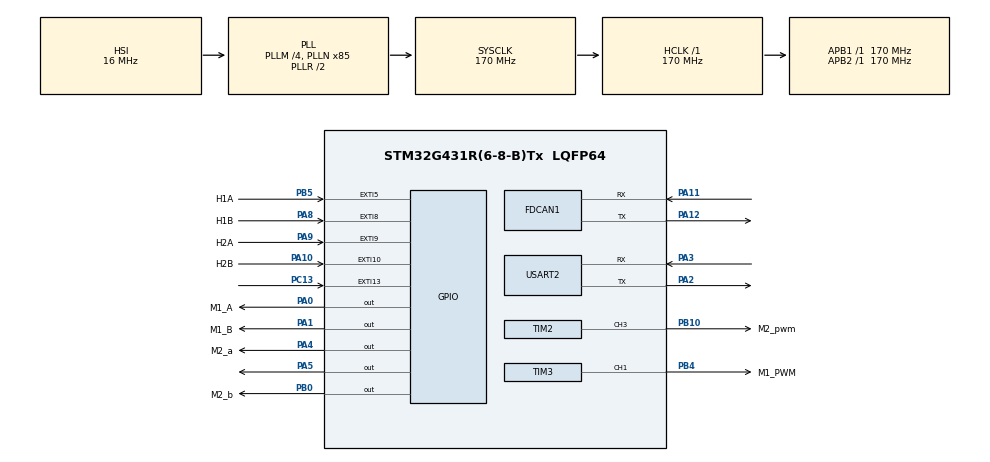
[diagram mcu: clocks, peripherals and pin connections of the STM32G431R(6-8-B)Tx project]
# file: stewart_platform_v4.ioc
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Dma.Request0=USART2_TX
Dma.USART2_TX.0.Direction=DMA_MEMORY_TO_PERIPH
Dma.USART2_TX.0.EventEnable=DISABLE
Dma.USART2_TX.0.Instance=DMA1_Channel1
Dma.USART2_TX.0.MemDataAlignment=DMA_MDATAALIGN_BYTE
Dma.USART2_TX.0.MemInc=DMA_MINC_ENABLE
Dma.USART2_TX.0.Mode=DMA_NORMAL
Dma.USART2_TX.0.PeriphDataAlignment=DMA_PDATAALIGN_BYTE
Dma.USART2_TX.0.PeriphInc=DMA_PINC_DISABLE
Dma.USART2_TX.0.Polarity=HAL_DMAMUX_REQ_GEN_RISING
Dma.USART2_TX.0.Priority=DMA_PRIORITY_LOW
Dma.USART2_TX.0.RequestNumber=1
Dma.USART2_TX.0.SignalID=NONE
Dma.USART2_TX.0.SyncEnable=DISABLE
Dma.USART2_TX.0.SyncPolarity=HAL_DMAMUX_SYNC_NO_EVENT
Dma.USART2_TX.0.SyncRequestNumber=1
Dma.USART2_TX.0.SyncSignalID=NONE
FDCAN1.CalculateBaudRateNominal=3541666
FDCAN1.CalculateTimeBitNominal=282
FDCAN1.CalculateTimeQuantumNominal=94.11764705882354
Mcu.Family=STM32G4
Mcu.Name=STM32G431R(6-8-B)Tx
Mcu.Package=LQFP64
NUCLEO-G431RB.BUTTON=1
NUCLEO-G431RB.LD1=true
NVIC.DMA1_Channel1_IRQn=true\:0\:0\:false\:false\:true\:false\:true\:true
NVIC.EXTI15_10_IRQn=true\:0\:0\:false\:false\:true\:false\:true\:true
NVIC.EXTI9_5_IRQn=true\:0\:0\:false\:false\:true\:true\:true\:true
NVIC.PriorityGroup=NVIC_PRIORITYGROUP_4
NVIC.USART2_IRQn=true\:0\:0\:false\:false\:true\:true\:true\:true
PA0.GPIO_Label=M1_A
PA0.Signal=GPIO_Output
PA1.GPIO_Label=M1_B
PA1.Signal=GPIO_Output
PA10.GPIO_Label=H2B
PA10.GPIO_ModeDefaultEXTI=GPIO_MODE_IT_FALLING
PA10.Signal=GPXTI10
PA11.Mode=FDCAN_Activate
PA11.Signal=FDCAN1_RX
PA12.Mode=FDCAN_Activate
PA12.Signal=FDCAN1_TX
PA13.GPIO_Label=T_SWDIO
PA13.Mode=Trace_Asynchronous_SW
PA13.Signal=SYS_JTMS-SWDIO
PA14.GPIO_Label=T_SWCLK
PA14.Mode=Trace_Asynchronous_SW
PA14.Signal=SYS_JTCK-SWCLK
PA2.Mode=Asynchronous
PA2.Signal=USART2_TX
PA3.Mode=Asynchronous
PA3.Signal=USART2_RX
PA4.GPIO_Label=M2_a
PA4.Signal=GPIO_Output
PA5.Signal=GPIO_Output
PA8.GPIO_Label=H1B
PA8.GPIO_ModeDefaultEXTI=GPIO_MODE_IT_FALLING
PA8.Signal=GPXTI8
PA9.GPIO_Label=H2A
PA9.GPIO_ModeDefaultEXTI=GPIO_MODE_IT_FALLING
PA9.Signal=GPXTI9
PB0.GPIO_Label=M2_b
PB0.Signal=GPIO_Output
PB10.GPIO_Label=M2_pwm
PB10.Signal=S_TIM2_CH3
PB3.GPIO_Label=T_SWO
PB3.Mode=Trace_Asynchronous_SW
PB3.Signal=SYS_JTDO-SWO
PB4.GPIO_Label=M1_PWM
PB4.Signal=S_TIM3_CH1
PB5.GPIO_Label=H1A
PB5.GPIO_ModeDefaultEXTI=GPIO_MODE_IT_FALLING
PB5.Signal=GPXTI5
PC13.Signal=GPXTI13
PC14-OSC32_IN.GPIO_Label=RCC_OSC32_OUT
PC14-OSC32_IN.Signal=RCC_OSC32_IN
PC15-OSC32_OUT.GPIO_Label=RCC_OSC32_OUT
PC15-OSC32_OUT.Signal=RCC_OSC32_OUT
PF0-OSC_IN.GPIO_Label=RCC_OSC_IN
PF0-OSC_IN.Mode=HSE-External-Oscillator
PF0-OSC_IN.Signal=RCC_OSC_IN
PF1-OSC_OUT.GPIO_Label=RCC_OSC_OUT
PF1-OSC_OUT.Mode=HSE-External-Oscillator
PF1-OSC_OUT.Signal=RCC_OSC_OUT
ProjectManager.HeapSize=0x200
ProjectManager.StackSize=0x400
ProjectManager.TargetToolchain=STM32CubeIDE
RCC.ADC12Freq_Value=170000000
RCC.AHBFreq_Value=170000000
RCC.APB1Freq_Value=170000000
RCC.APB1TimFreq_Value=170000000
RCC.APB2Freq_Value=170000000
RCC.APB2TimFreq_Value=170000000
RCC.CortexFreq_Value=170000000
RCC.EXTERNAL_CLOCK_VALUE=12288000
RCC.HCLKFreq_Value=170000000
RCC.HSE_VALUE=24000000
RCC.HSI48_VALUE=48000000
RCC.HSI_VALUE=16000000
RCC.LSE_VALUE=32768
RCC.PLLM=RCC_PLLM_DIV4
RCC.PLLN=85
RCC.RTCClockSelection=RCC_RTCCLKSOURCE_LSE
RCC.SYSCLKFreq_VALUE=170000000
RCC.SYSCLKSource=RCC_SYSCLKSOURCE_PLLCLK
RCC.USBFreq_Value=170000000
RCC.VCOOutputFreq_Value=340000000
SH.S_TIM2_CH3.0=TIM2_CH3,PWM Generation3 CH3
SH.S_TIM3_CH1.0=TIM3_CH1,PWM Generation1 CH1
TIM1.PeriodNoDither=3399
TIM1.TIM_MasterOutputTrigger=TIM_TRGO_UPDATE
TIM1.TIM_MasterSlaveMode=TIM_MASTERSLAVEMODE_ENABLE
TIM2.Channel-PWM\ Generation3\ CH3=TIM_CHANNEL_3
TIM2.PeriodNoDither=3399
TIM2.PulseNoDither_3=3000
TIM3.Channel-PWM\ Generation1\ CH1=TIM_CHANNEL_1
TIM3.PeriodNoDither=3399
TIM3.PulseNoDither_1=3000
USART2.VirtualMode-Asynchronous=VM_ASYNC
VP_NUCLEO-G431RB_VS_BSP_COMMON.Mode=COMMON
VP_SYS_VS_DBSignals.Mode=DisableDeadBatterySignals
VP_TIM1_VS_ClockSourceINT.Mode=Internal
VP_TIM2_VS_ClockSourceINT.Mode=Internal
VP_TIM2_VS_ClockSourceITR.Mode=TriggerSource_ITR0
VP_TIM2_VS_ControllerModeReset.Mode=Reset Mode
VP_TIM3_VS_ClockSourceINT.Mode=Internal
VP_TIM3_VS_ClockSourceITR.Mode=TriggerSource_ITR0
VP_TIM3_VS_ControllerModeReset.Mode=Reset Mode
board=NUCLEO-G431RB

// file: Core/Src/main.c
/* USER CODE BEGIN Header */
/**
  ******************************************************************************
  * @file           : main.c
  * @brief          : Main program body
  ******************************************************************************
  * @attention
  *
  * Copyright (c) 2026 STMicroelectronics.
  * All rights reserved.
  *
  * This software is licensed under terms that can be found in the LICENSE file
  * in the root directory of this software component.
  * If no LICENSE file comes with this software, it is provided AS-IS.
  *
  ******************************************************************************
  */
/* USER CODE END Header */
#include "main.h"
#include <stdio.h>
#include <string.h>

/* USER CODE BEGIN PTD */

// --- Stewart Platform Motor State typedef ---
typedef enum{
	SLEEP_STANDBY,
    FORWARD_STANDBY,
    BACKWARD_STANDBY,
    FORWARD,
    BACKWARD,
    BRAKE}
stewart_state;
// --- command direction typedef ---
typedef enum{
	GO,
	REVERSE,
} command_direction;
// ---  Motor structure define ---
typedef struct{
	// bare bones defines
	TIM_HandleTypeDef *timer;
	uint32_t channel;
	GPIO_TypeDef *gpioportA;
	uint16_t GPIOPinA;
	GPIO_TypeDef *gpioportB;
	uint16_t GPIOPinB;

	// for hall feedback
	volatile uint32_t current_ticks;
	volatile uint32_t previous_ticks;
	volatile uint32_t total_ticks;
	// after  hall feedback
	float position_mm;
	uint16_t speed;
	uint8_t direction;
} motor;

// Result output format for findmin
typedef struct{
	uint32_t idx;
	uint32_t value;
} minResult;

/* USER CODE END PTD */

/* USER CODE BEGIN PD */
#define ACTUATOR_COUNT 2U
/* USER CODE END PD */

FDCAN_HandleTypeDef hfdcan1;

TIM_HandleTypeDef htim1;
TIM_HandleTypeDef htim2;
TIM_HandleTypeDef htim3;

UART_HandleTypeDef huart2;

/* USER CODE BEGIN PV */
// states/buttons
static stewart_state motor_state = SLEEP_STANDBY;
static volatile uint8_t button_event = 0U;
//motors
static motor h_bridge[ACTUATOR_COUNT] = {
		{
	        .timer = &htim2,
	        .channel = TIM_CHANNEL_3,
	        .gpioportA = M1_A_GPIO_Port,
	        .GPIOPinA = M1_A_Pin,
	        .gpioportB = M1_B_GPIO_Port,
	        .GPIOPinB = M1_B_Pin
	    },
	    {
	        .timer = &htim3,
	        .channel = TIM_CHANNEL_1,
	        .gpioportA = M2_a_GPIO_Port,
	        .GPIOPinA = M2_a_Pin,
	        .gpioportB = M2_b_GPIO_Port,
	        .GPIOPinB = M2_b_Pin
	    }
};

// Speeds array
volatile uint32_t speeds[ACTUATOR_COUNT];

//print uart data variables
static uint32_t last_uart_print_ms = 0;

/* USER CODE END PV */

void SystemClock_Config(void);
static void MX_GPIO_Init(void);
static void MX_FDCAN1_Init(void);
static void MX_TIM1_Init(void);
static void MX_TIM2_Init(void);
static void MX_TIM3_Init(void);
static void MX_USART2_UART_Init(void);
/* USER CODE BEGIN PFP */
void move_all_generic(command_direction);
void brake();
void sleep();
minResult simple_findmin(const volatile uint32_t arr[], uint32_t length);
void update_speeds(motor system[]);

/* USER CODE END PFP */

/* USER CODE BEGIN 0 */
void move_all_generic(command_direction direction){
	for (uint8_t i = 0; i < ACTUATOR_COUNT; i++){
		motor *m = &h_bridge[i];

		if(direction == GO){
			    m->gpioportA->BSRR = (uint32_t)m->GPIOPinA;          // Set A
			    m->gpioportB->BSRR = (uint32_t)m->GPIOPinB << 16U;  // Reset B
			}
		if(direction == REVERSE){
				m->gpioportA->BSRR = (uint32_t)m->GPIOPinA << 16U;  // Reset A
			    m->gpioportB->BSRR = (uint32_t)m->GPIOPinB;          // Set B
			}
			HAL_TIM_PWM_Start(m->timer, m->channel);
	}
	HAL_TIM_Base_Start(&htim1);
}

void sleep(){
	for (uint8_t i = 0; i < ACTUATOR_COUNT; i++){
		motor *m = &h_bridge[i];
		HAL_TIM_PWM_Stop(m->timer,m->channel);
	}
	HAL_TIM_Base_Stop(&htim1);
}

void brake(){
	for (uint8_t i = 0; i < ACTUATOR_COUNT; i++){
		motor *m = &h_bridge[i];
			    m->gpioportA->BSRR = (uint32_t)m->GPIOPinA; // Set A
			    m->gpioportB->BSRR = (uint32_t)m->GPIOPinB; // Set B
	}
}

minResult simple_findmin(const volatile uint32_t arr[], uint32_t length){
	minResult min = {
			.idx = 0,
			.value = arr[0]
	};

	for(uint32_t i=1; i<length;i++){
		if(arr[i]<min.value){
			min.idx = i;
			min.value = arr[i];
		}
	}
	return min;
}

void update_speeds(motor system[]){
	for (uint8_t i=0;i<ACTUATOR_COUNT;i++){
		system[i].previous_ticks = system[i].current_ticks;
		speeds[i] = system[i].current_ticks;
		system[i].current_ticks = 0;

	}

}

/* USER CODE END 0 */

int main(void)
{

  /* MCU Configuration--------------------------------------------------------*/

  /* Reset of all peripherals, Initializes the Flash interface and the Systick. */
  HAL_Init();

  /* Configure the system clock */
  SystemClock_Config();

  /* Initialize all configured peripherals */
  MX_GPIO_Init();
  MX_FDCAN1_Init();
  MX_TIM1_Init();
  MX_TIM2_Init();
  MX_TIM3_Init();
  MX_USART2_UART_Init();

  /* Initialize leds */
  BSP_LED_Init(LED_GREEN);

  /* Initialize USER push-button, will be used to trigger an interrupt each time it's pressed.*/
  BSP_PB_Init(BUTTON_USER, BUTTON_MODE_EXTI);

  /* Infinite loop */
  /* USER CODE BEGIN WHILE */
  volatile minResult current_minSpeed;
  //pre loop print

  printf("STM started/reset \r\n"
         "M1 total ticks=0  M2 total ticks=0");
  printf("M1 ticks=0  M2 ticks=0\r\n"
         "Min speed=0  Motor index=0\r\n"
         "M1 total ticks=0  M2 total ticks=0");

  fflush(stdout);

  while (1)
  {
	  //------------------- Printing Data every 100ms (non-blocking, AIed this code) ----------------------
	  uint32_t now = HAL_GetTick();

	  if ((uint32_t)(now - last_uart_print_ms) >= 100U)
	  {
		  update_speeds(h_bridge);
		  current_minSpeed = simple_findmin(speeds, 2);

	      last_uart_print_ms = now;
	      printf("\033[3A"
	             "\r\033[2K"
	             "M1 ticks=%10lu  M2 ticks=%10lu\r\n"
	             "\r\033[2K"
	             "Min speed=%10lu  Motor index=%lu\r\n"
	             "\r\033[2K"
	             "M1 total ticks=%10lu  M2 total ticks=%10lu",
	             (unsigned long)h_bridge[0].current_ticks,
	             (unsigned long)h_bridge[1].current_ticks,
	             (unsigned long)current_minSpeed.value,
	             (unsigned long)current_minSpeed.idx,
	             (unsigned long)h_bridge[0].total_ticks,
	             (unsigned long)h_bridge[1].total_ticks);

	      fflush(stdout);
	  }

	  // -------------------- want to change this to not keep printing but update the same value on 1 print

	  // Changing how motors move off button press for testing
	  if (button_event)
	  {
	      button_event = 0U;

	      switch (motor_state)
	      {
	          case SLEEP_STANDBY:
	              motor_state = FORWARD;
	              move_all_generic(GO);
	              break;

	          case FORWARD:
	              motor_state = BRAKE;
	              brake();
	              break;

	          case BRAKE:
	              motor_state = BACKWARD;
	              move_all_generic(REVERSE);
	              break;

	          case BACKWARD:
	          default:
	              motor_state = SLEEP_STANDBY;
	              sleep();
	              break;
	      }
	  }

    /* USER CODE END WHILE */

  }
}

void SystemClock_Config(void)
{
  RCC_OscInitTypeDef RCC_OscInitStruct = {0};
  RCC_ClkInitTypeDef RCC_ClkInitStruct = {0};

  /** Configure the main internal regulator output voltage
  */
  HAL_PWREx_ControlVoltageScaling(PWR_REGULATOR_VOLTAGE_SCALE1_BOOST);

  /** Initializes the RCC Oscillators according to the specified parameters
  * in the RCC_OscInitTypeDef structure.
  */
  RCC_OscInitStruct.OscillatorType = RCC_OSCILLATORTYPE_HSI;
  RCC_OscInitStruct.HSIState = RCC_HSI_ON;
  RCC_OscInitStruct.HSICalibrationValue = RCC_HSICALIBRATION_DEFAULT;
  RCC_OscInitStruct.PLL.PLLState = RCC_PLL_ON;
  RCC_OscInitStruct.PLL.PLLSource = RCC_PLLSOURCE_HSI;
  RCC_OscInitStruct.PLL.PLLM = RCC_PLLM_DIV4;
  RCC_OscInitStruct.PLL.PLLN = 85;
  RCC_OscInitStruct.PLL.PLLP = RCC_PLLP_DIV2;
  RCC_OscInitStruct.PLL.PLLQ = RCC_PLLQ_DIV2;
  RCC_OscInitStruct.PLL.PLLR = RCC_PLLR_DIV2;
  if (HAL_RCC_OscConfig(&RCC_OscInitStruct) != HAL_OK)
  {
    Error_Handler();
  }

  /** Initializes the CPU, AHB and APB buses clocks
  */
  RCC_ClkInitStruct.ClockType = RCC_CLOCKTYPE_HCLK|RCC_CLOCKTYPE_SYSCLK
                              |RCC_CLOCKTYPE_PCLK1|RCC_CLOCKTYPE_PCLK2;
  RCC_ClkInitStruct.SYSCLKSource = RCC_SYSCLKSOURCE_PLLCLK;
  RCC_ClkInitStruct.AHBCLKDivider = RCC_SYSCLK_DIV1;
  RCC_ClkInitStruct.APB1CLKDivider = RCC_HCLK_DIV1;
  RCC_ClkInitStruct.APB2CLKDivider = RCC_HCLK_DIV1;

  if (HAL_RCC_ClockConfig(&RCC_ClkInitStruct, FLASH_LATENCY_4) != HAL_OK)
  {
    Error_Handler();
  }
}

static void MX_FDCAN1_Init(void)
{

  hfdcan1.Instance = FDCAN1;
  hfdcan1.Init.ClockDivider = FDCAN_CLOCK_DIV1;
  hfdcan1.Init.FrameFormat = FDCAN_FRAME_CLASSIC;
  hfdcan1.Init.Mode = FDCAN_MODE_NORMAL;
  hfdcan1.Init.AutoRetransmission = DISABLE;
  hfdcan1.Init.TransmitPause = DISABLE;
  hfdcan1.Init.ProtocolException = DISABLE;
  hfdcan1.Init.NominalPrescaler = 16;
  hfdcan1.Init.NominalSyncJumpWidth = 1;
  hfdcan1.Init.NominalTimeSeg1 = 1;
  hfdcan1.Init.NominalTimeSeg2 = 1;
  hfdcan1.Init.DataPrescaler = 1;
  hfdcan1.Init.DataSyncJumpWidth = 1;
  hfdcan1.Init.DataTimeSeg1 = 1;
  hfdcan1.Init.DataTimeSeg2 = 1;
  hfdcan1.Init.StdFiltersNbr = 0;
  hfdcan1.Init.ExtFiltersNbr = 0;
  hfdcan1.Init.TxFifoQueueMode = FDCAN_TX_FIFO_OPERATION;
  if (HAL_FDCAN_Init(&hfdcan1) != HAL_OK)
  {
    Error_Handler();
  }

}

static void MX_TIM1_Init(void)
{

  TIM_ClockConfigTypeDef sClockSourceConfig = {0};
  TIM_MasterConfigTypeDef sMasterConfig = {0};

  htim1.Instance = TIM1;
  htim1.Init.Prescaler = 0;
  htim1.Init.CounterMode = TIM_COUNTERMODE_UP;
  htim1.Init.Period = 3399;
  htim1.Init.ClockDivision = TIM_CLOCKDIVISION_DIV1;
  htim1.Init.RepetitionCounter = 0;
  htim1.Init.AutoReloadPreload = TIM_AUTORELOAD_PRELOAD_DISABLE;
  if (HAL_TIM_Base_Init(&htim1) != HAL_OK)
  {
    Error_Handler();
  }
  sClockSourceConfig.ClockSource = TIM_CLOCKSOURCE_INTERNAL;
  if (HAL_TIM_ConfigClockSource(&htim1, &sClockSourceConfig) != HAL_OK)
  {
    Error_Handler();
  }
  sMasterConfig.MasterOutputTrigger = TIM_TRGO_UPDATE;
  sMasterConfig.MasterOutputTrigger2 = TIM_TRGO2_RESET;
  sMasterConfig.MasterSlaveMode = TIM_MASTERSLAVEMODE_ENABLE;
  if (HAL_TIMEx_MasterConfigSynchronization(&htim1, &sMasterConfig) != HAL_OK)
  {
    Error_Handler();
  }

}

static void MX_TIM2_Init(void)
{

  TIM_ClockConfigTypeDef sClockSourceConfig = {0};
  TIM_SlaveConfigTypeDef sSlaveConfig = {0};
  TIM_MasterConfigTypeDef sMasterConfig = {0};
  TIM_OC_InitTypeDef sConfigOC = {0};

  htim2.Instance = TIM2;
  htim2.Init.Prescaler = 0;
  htim2.Init.CounterMode = TIM_COUNTERMODE_UP;
  htim2.Init.Period = 3399;
  htim2.Init.ClockDivision = TIM_CLOCKDIVISION_DIV1;
  htim2.Init.AutoReloadPreload = TIM_AUTORELOAD_PRELOAD_DISABLE;
  if (HAL_TIM_Base_Init(&htim2) != HAL_OK)
  {
    Error_Handler();
  }
  sClockSourceConfig.ClockSource = TIM_CLOCKSOURCE_INTERNAL;
  if (HAL_TIM_ConfigClockSource(&htim2, &sClockSourceConfig) != HAL_OK)
  {
    Error_Handler();
  }
  if (HAL_TIM_PWM_Init(&htim2) != HAL_OK)
  {
    Error_Handler();
  }
  sSlaveConfig.SlaveMode = TIM_SLAVEMODE_RESET;
  sSlaveConfig.InputTrigger = TIM_TS_ITR0;
  if (HAL_TIM_SlaveConfigSynchro(&htim2, &sSlaveConfig) != HAL_OK)
  {
    Error_Handler();
  }
  sMasterConfig.MasterOutputTrigger = TIM_TRGO_RESET;
  sMasterConfig.MasterSlaveMode = TIM_MASTERSLAVEMODE_DISABLE;
  if (HAL_TIMEx_MasterConfigSynchronization(&htim2, &sMasterConfig) != HAL_OK)
  {
    Error_Handler();
  }
  sConfigOC.OCMode = TIM_OCMODE_PWM1;
  sConfigOC.Pulse = 2000;
  sConfigOC.OCPolarity = TIM_OCPOLARITY_HIGH;
  sConfigOC.OCFastMode = TIM_OCFAST_DISABLE;
  if (HAL_TIM_PWM_ConfigChannel(&htim2, &sConfigOC, TIM_CHANNEL_3) != HAL_OK)
  {
    Error_Handler();
  }
  HAL_TIM_MspPostInit(&htim2);

}

static void MX_TIM3_Init(void)
{

  TIM_ClockConfigTypeDef sClockSourceConfig = {0};
  TIM_SlaveConfigTypeDef sSlaveConfig = {0};
  TIM_MasterConfigTypeDef sMasterConfig = {0};
  TIM_OC_InitTypeDef sConfigOC = {0};

  htim3.Instance = TIM3;
  htim3.Init.Prescaler = 0;
  htim3.Init.CounterMode = TIM_COUNTERMODE_UP;
  htim3.Init.Period = 3399;
  htim3.Init.ClockDivision = TIM_CLOCKDIVISION_DIV1;
  htim3.Init.AutoReloadPreload = TIM_AUTORELOAD_PRELOAD_DISABLE;
  if (HAL_TIM_Base_Init(&htim3) != HAL_OK)
  {
    Error_Handler();
  }
  sClockSourceConfig.ClockSource = TIM_CLOCKSOURCE_INTERNAL;
  if (HAL_TIM_ConfigClockSource(&htim3, &sClockSourceConfig) != HAL_OK)
  {
    Error_Handler();
  }
  if (HAL_TIM_PWM_Init(&htim3) != HAL_OK)
  {
    Error_Handler();
  }
  sSlaveConfig.SlaveMode = TIM_SLAVEMODE_RESET;
  sSlaveConfig.InputTrigger = TIM_TS_ITR0;
  if (HAL_TIM_SlaveConfigSynchro(&htim3, &sSlaveConfig) != HAL_OK)
  {
    Error_Handler();
  }
  sMasterConfig.MasterOutputTrigger = TIM_TRGO_RESET;
  sMasterConfig.MasterSlaveMode = TIM_MASTERSLAVEMODE_DISABLE;
  if (HAL_TIMEx_MasterConfigSynchronization(&htim3, &sMasterConfig) != HAL_OK)
  {
    Error_Handler();
  }
  sConfigOC.OCMode = TIM_OCMODE_PWM1;
  sConfigOC.Pulse = 2000;
  sConfigOC.OCPolarity = TIM_OCPOLARITY_HIGH;
  sConfigOC.OCFastMode = TIM_OCFAST_DISABLE;
  if (HAL_TIM_PWM_ConfigChannel(&htim3, &sConfigOC, TIM_CHANNEL_1) != HAL_OK)
  {
    Error_Handler();
  }
  HAL_TIM_MspPostInit(&htim3);

}

static void MX_USART2_UART_Init(void)
{

  huart2.Instance = USART2;
  huart2.Init.BaudRate = 115200;
  huart2.Init.WordLength = UART_WORDLENGTH_8B;
  huart2.Init.StopBits = UART_STOPBITS_1;
  huart2.Init.Parity = UART_PARITY_NONE;
  huart2.Init.Mode = UART_MODE_TX_RX;
  huart2.Init.HwFlowCtl = UART_HWCONTROL_NONE;
  huart2.Init.OverSampling = UART_OVERSAMPLING_16;
  huart2.Init.OneBitSampling = UART_ONE_BIT_SAMPLE_DISABLE;
  huart2.Init.ClockPrescaler = UART_PRESCALER_DIV1;
  huart2.AdvancedInit.AdvFeatureInit = UART_ADVFEATURE_NO_INIT;
  if (HAL_UART_Init(&huart2) != HAL_OK)
  {
    Error_Handler();
  }
  if (HAL_UARTEx_SetTxFifoThreshold(&huart2, UART_TXFIFO_THRESHOLD_1_8) != HAL_OK)
  {
    Error_Handler();
  }
  if (HAL_UARTEx_SetRxFifoThreshold(&huart2, UART_RXFIFO_THRESHOLD_1_8) != HAL_OK)
  {
    Error_Handler();
  }
  if (HAL_UARTEx_DisableFifoMode(&huart2) != HAL_OK)
  {
    Error_Handler();
  }

}

static void MX_GPIO_Init(void)
{
  GPIO_InitTypeDef GPIO_InitStruct = {0};

  /* GPIO Ports Clock Enable */
  __HAL_RCC_GPIOC_CLK_ENABLE();
  __HAL_RCC_GPIOF_CLK_ENABLE();
  __HAL_RCC_GPIOA_CLK_ENABLE();
  __HAL_RCC_GPIOB_CLK_ENABLE();

  /*Configure GPIO pin Output Level */
  HAL_GPIO_WritePin(GPIOA, M1_A_Pin|M1_B_Pin|M2_a_Pin, GPIO_PIN_RESET);

  /*Configure GPIO pin Output Level */
  HAL_GPIO_WritePin(M2_b_GPIO_Port, M2_b_Pin, GPIO_PIN_RESET);

  /*Configure GPIO pins : M1_A_Pin M1_B_Pin M2_a_Pin */
  GPIO_InitStruct.Pin = M1_A_Pin|M1_B_Pin|M2_a_Pin;
  GPIO_InitStruct.Mode = GPIO_MODE_OUTPUT_PP;
  GPIO_InitStruct.Pull = GPIO_NOPULL;
  GPIO_InitStruct.Speed = GPIO_SPEED_FREQ_LOW;
  HAL_GPIO_Init(GPIOA, &GPIO_InitStruct);

  /*Configure GPIO pin : M2_b_Pin */
  GPIO_InitStruct.Pin = M2_b_Pin;
  GPIO_InitStruct.Mode = GPIO_MODE_OUTPUT_PP;
  GPIO_InitStruct.Pull = GPIO_NOPULL;
  GPIO_InitStruct.Speed = GPIO_SPEED_FREQ_LOW;
  HAL_GPIO_Init(M2_b_GPIO_Port, &GPIO_InitStruct);

  /*Configure GPIO pins : H1B_Pin H2A_Pin H2B_Pin */
  GPIO_InitStruct.Pin = H1B_Pin|H2A_Pin|H2B_Pin;
  GPIO_InitStruct.Mode = GPIO_MODE_IT_FALLING;
  GPIO_InitStruct.Pull = GPIO_NOPULL;
  HAL_GPIO_Init(GPIOA, &GPIO_InitStruct);

  /*Configure GPIO pin : H1A_Pin */
  GPIO_InitStruct.Pin = H1A_Pin;
  GPIO_InitStruct.Mode = GPIO_MODE_IT_FALLING;
  GPIO_InitStruct.Pull = GPIO_NOPULL;
  HAL_GPIO_Init(H1A_GPIO_Port, &GPIO_InitStruct);

  /* EXTI interrupt init*/
  HAL_NVIC_SetPriority(EXTI9_5_IRQn, 0, 0);
  HAL_NVIC_EnableIRQ(EXTI9_5_IRQn);

  HAL_NVIC_SetPriority(EXTI15_10_IRQn, 0, 0);
  HAL_NVIC_EnableIRQ(EXTI15_10_IRQn);

}

/* USER CODE BEGIN 4 */

int __io_putchar(int ch)
{
    HAL_UART_Transmit(&huart2, (uint8_t *)&ch, 1, HAL_MAX_DELAY);
    return ch;
}

void HAL_GPIO_EXTI_Callback(uint16_t GPIO_Pin)
{
    if (GPIO_Pin == H1A_Pin) {
        h_bridge[0].current_ticks++;
        h_bridge[0].total_ticks++;
    }
    if (GPIO_Pin == H1B_Pin) {
        h_bridge[0].current_ticks++;
        h_bridge[0].total_ticks++;

    }
    if (GPIO_Pin == H2A_Pin) {
    	h_bridge[1].current_ticks++;
    	h_bridge[1].total_ticks++;
    }
    if (GPIO_Pin == H2B_Pin) {
    	h_bridge[1].current_ticks++;
    	h_bridge[1].total_ticks++;
    }
}

void BSP_PB_Callback(Button_TypeDef Button)
{
    if (Button == BUTTON_USER)
    {
        button_event = 1U;
    }
}
/* USER CODE END 4 */

void Error_Handler(void)
{
  __disable_irq();
  while (1)
  {
  }
}
